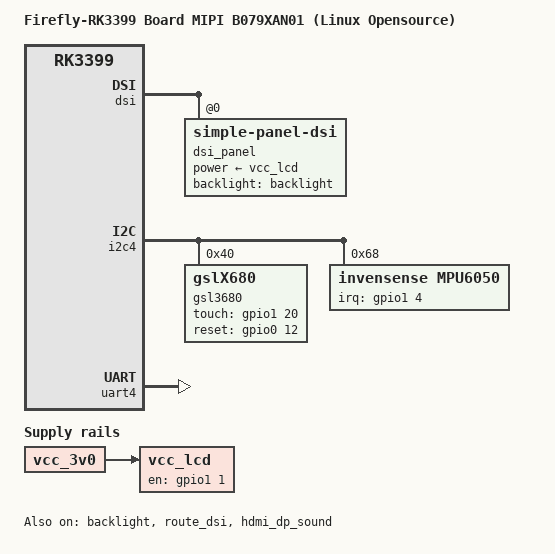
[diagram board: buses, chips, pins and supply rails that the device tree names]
/*
 * Copyright (c) 2016 Fuzhou Rockchip Electronics Co., Ltd
 *
 * This file is dual-licensed: you can use it either under the terms
 * of the GPL or the X11 license, at your option. Note that this dual
 * licensing only applies to this file, and not this project as a
 * whole.
 *
 *  a) This file is free software; you can redistribute it and/or
 *     modify it under the terms of the GNU General Public License as
 *     published by the Free Software Foundation; either version 2 of the
 *     License, or (at your option) any later version.
 *
 *     This file is distributed in the hope that it will be useful,
 *     but WITHOUT ANY WARRANTY; without even the implied warranty of
 *     MERCHANTABILITY or FITNESS FOR A PARTICULAR PURPOSE.  See the
 *     GNU General Public License for more details.
 *
 * Or, alternatively,
 *
 *  b) Permission is hereby granted, free of charge, to any person
 *     obtaining a copy of this software and associated documentation
 *     files (the "Software"), to deal in the Software without
 *     restriction, including without limitation the rights to use,
 *     copy, modify, merge, publish, distribute, sublicense, and/or
 *     sell copies of the Software, and to permit persons to whom the
 *     Software is furnished to do so, subject to the following
 *     conditions:
 *
 *     The above copyright notice and this permission notice shall be
 *     included in all copies or substantial portions of the Software.
 *
 *     THE SOFTWARE IS PROVIDED "AS IS", WITHOUT WARRANTY OF ANY KIND,
 *     EXPRESS OR IMPLIED, INCLUDING BUT NOT LIMITED TO THE WARRANTIES
 *     OF MERCHANTABILITY, FITNESS FOR A PARTICULAR PURPOSE AND
 *     NONINFRINGEMENT. IN NO EVENT SHALL THE AUTHORS OR COPYRIGHT
 *     HOLDERS BE LIABLE FOR ANY CLAIM, DAMAGES OR OTHER LIABILITY,
 *     WHETHER IN AN ACTION OF CONTRACT, TORT OR OTHERWISE, ARISING
 *     FROM, OUT OF OR IN CONNECTION WITH THE SOFTWARE OR THE USE OR
 *     OTHER DEALINGS IN THE SOFTWARE.
 */

/dts-v1/;

#include "rk3399-firefly-port.dtsi"
#include <dt-bindings/display/media-bus-format.h>

/ {
	model = "Firefly-RK3399 Board MIPI B079XAN01 (Linux Opensource)";
	compatible = "rockchip,rk3399-firefly", "rockchip,rk3399";

	test-power {
		status = "okay";
	};

	vcc_lcd: vcc-lcd {
		compatible = "regulator-fixed";
		enable-active-high;
		regulator-boot-on;
		gpio = <&gpio1 1 GPIO_ACTIVE_HIGH>;
		pinctrl-names = "default";
		pinctrl-0 = <&lcd_en>;
		regulator-name = "vcc_lcd";
		vin-supply = <&vcc_3v0>;
	};
};

&backlight {
	pwms = <&pwm1 0 25000 0>;
    status = "okay";
};

&dsi {
	status = "okay";
	dsi_panel: panel {
		compatible ="simple-panel-dsi";
		reg = <0>;
		backlight = <&backlight>;
		power-supply = <&vcc_lcd>;
		dsi,flags = <(MIPI_DSI_MODE_VIDEO | MIPI_DSI_MODE_VIDEO_BURST)>;
		dsi,format = <MIPI_DSI_FMT_RGB888>;
		bus-format = <MEDIA_BUS_FMT_RGB666_1X18>;
		dsi,lanes = <4>;
		reset-delay-ms = <20>;
		init-delay-ms = <20>;
		enable-delay-ms = <120>;
		prepare-delay-ms = <120>;
		status = "okay";

		panel-init-sequence = [
			05 20 01 29
			05 96 01 11
		];

		panel-exit-sequence = [
			05 05 01 28
			05 78 01 10
		];

		disp_timings: display-timings {
			native-mode = <&timing0>;

			timing0: timing0 {
				clock-frequency = <80000000>;
				hactive = <768>;
				vactive = <1024>;
				hsync-len = <20>;
				hback-porch = <110>;
				hfront-porch = <170>;
				vsync-len = <40>;
				vback-porch = <130>;
				vfront-porch = <136>;
				hsync-active = <0>;
				vsync-active = <0>;
				de-active = <0>;
				pixelclk-active = <0>;
			};
		};
	};
};

&route_dsi{
	status = "okay";
	logo,mode = "center";
};

&dsi_in_vopl {
	status = "disabled";
};

&hdmi_dp_sound {
	status = "okay";
};

&i2c4 {
	status = "okay";

	gsl3680: gsl3680@40 {
		status = "okay";
		compatible = "gslX680";
		reg = <0x40>;
		screen_max_x = <1536>;
		screen_max_y = <2048>;
		touch-gpio = <&gpio1 20 IRQ_TYPE_LEVEL_LOW>;
		reset-gpio = <&gpio0 12 GPIO_ACTIVE_HIGH>;
	};

	mpu6050: mpu@68 {
		status = "okay";
		compatible = "invensense,mpu6050";
		reg = <0x68>;
		irq-gpio = <&gpio1 4 IRQ_TYPE_LEVEL_LOW>;
		mpu-debug = <1>;
		mpu-int_config = <0x10>;
		mpu-level_shifter = <0>;
		mpu-orientation = <0 1 0 1 0 0 0 0 1>;
		orientation-x= <1>;
		orientation-y= <1>;
		orientation-z= <1>;
	};
};

&uart4 {
	status = "okay";
};

&dp_in_vopb {
	status = "disabled";
};

&hdmi_in_vopb {
	status = "disabled";
};

&wdt {
	status = "disabled";
};

&pinctrl {
	lcd {
		lcd_en: lcd-en  {
			rockchip,pins = <1 1 RK_FUNC_GPIO &pcfg_pull_none>;
		};
	};
};
